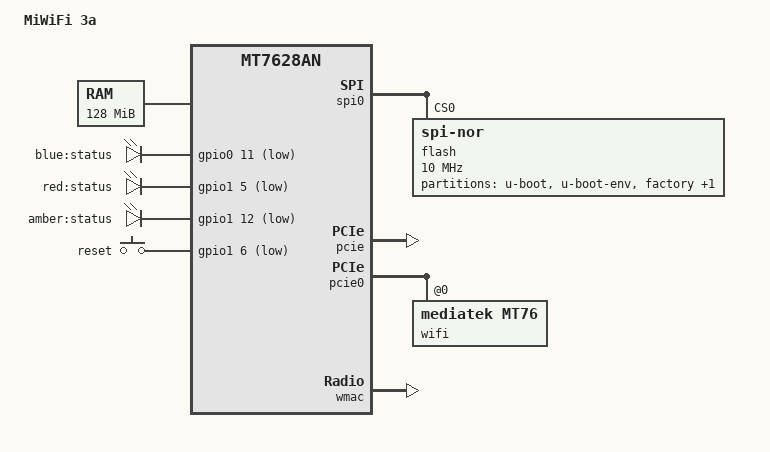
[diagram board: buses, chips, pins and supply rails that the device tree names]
//SPDX-License-Identifier: GPL-2.0-or-later OR MIT
/dts-v1/;

#include "mt7628an.dtsi"

#include <dt-bindings/gpio/gpio.h>
#include <dt-bindings/input/input.h>

/ {
	compatible = "xiaomi,miwifi-3a", "mediatek,mt7628an-soc";
	model = "MiWiFi 3a";

	chosen {
		bootargs = "console=ttyS0,115200";
	};
    /*内存大小128M*/
	memory@0 {
		device_type = "memory";
		reg = <0x0 0x8000000>;
	};

	aliases {
		led-boot = &led_status_amber;
		led-failsafe = &led_status_red;
		led-running = &led_status_blue;
		led-upgrade = &led_status_amber;
		label-mac-device = &ethernet;
	};

	leds {
		compatible = "gpio-leds";

		led_status_blue: status_blue {
			label = "blue:status";
			gpios = <&gpio0 11 GPIO_ACTIVE_LOW>;
		};

		led_status_red: status_red {
			label = "red:status";
			gpios = <&gpio1 5 GPIO_ACTIVE_LOW>;
		};

		led_status_amber: status_amber {
			label = "amber:status";
			gpios = <&gpio1 12 GPIO_ACTIVE_LOW>;
		};
	};

	keys {
		compatible = "gpio-keys-polled";
		poll-interval = <20>;

		reset {
			label = "reset";
			gpios = <&gpio1 6 GPIO_ACTIVE_LOW>;
			linux,code = <KEY_RESTART>;
		};
	};
};

&spi0 {
	status = "okay";

	flash@0 {
		compatible = "jedec,spi-nor";
		reg = <0>;
		spi-max-frequency = <10000000>;
		/*闪存大小16M*/
		partitions: partitions {
             compatible = "fixed-partitions";
             #address-cells = <1>;
             #size-cells = <1>;

             partition@0 {
                 label = "u-boot";
                 reg = <0x0 0x30000>;
                 read-only;
             };

             partition@30000 {
                 label = "u-boot-env";
                 reg = <0x30000 0x10000>;
                 read-only;
             };

             factory: partition@40000 {
                 label = "factory";
                 reg = <0x40000 0x10000>;
                 read-only;
             };

             partition@50000 {
                 label = "firmware";
                 reg = <0x50000 0xf80000>;            
                 compatible = "denx,uimage";
             };            
            
             /* additional partitions in DTS */
             /* https://www.right.com.cn/forum/forum.php?mod=viewthread&tid=5459952&extra=page%3D1&page=1 */
         };
	};
};
/*以上均已测试通过，勿修改*/
/*5g WIFI*/
&pcie {
	status = "okay";
};

&pcie0 {
	wifi@0,0 {
		compatible = "mediatek,mt76";
		reg = <0x0000 0 0 0 0>;
		mediatek,mtd-eeprom = <&factory 0x8000>;
		mtd-mac-address = <&factory 0x2e>;
		/*从 HC5861B.dts 抄写的，希望有用，第四次测试*/
		ieee80211-freq-limit = <5000000 6000000>;
	};
};
/*5g WIFI*/

/*总线*/
&pinctrl {
	state_default: pinctrl0 {
		gpio {
			ralink,group = "gpio", "refclk", "wdt", "wled_an";
			ralink,function = "gpio";
		};
	};
};
/*总线*/

/*MAC地址获取地址*/
&ethernet {
	mtd-mac-address = <&factory 0x28>;
};
/*MAC地址获取地址*/

&esw {
	mediatek,portmap = <0x2f>;
	/*从 4A-100M.dts 抄写的，希望有用，第四次测试*/
	mediatek,portdisable = <0x2a>;
};

/*wan口默认启用*/
&wmac {
	status = "okay";
};
/*wan口默认启用*/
